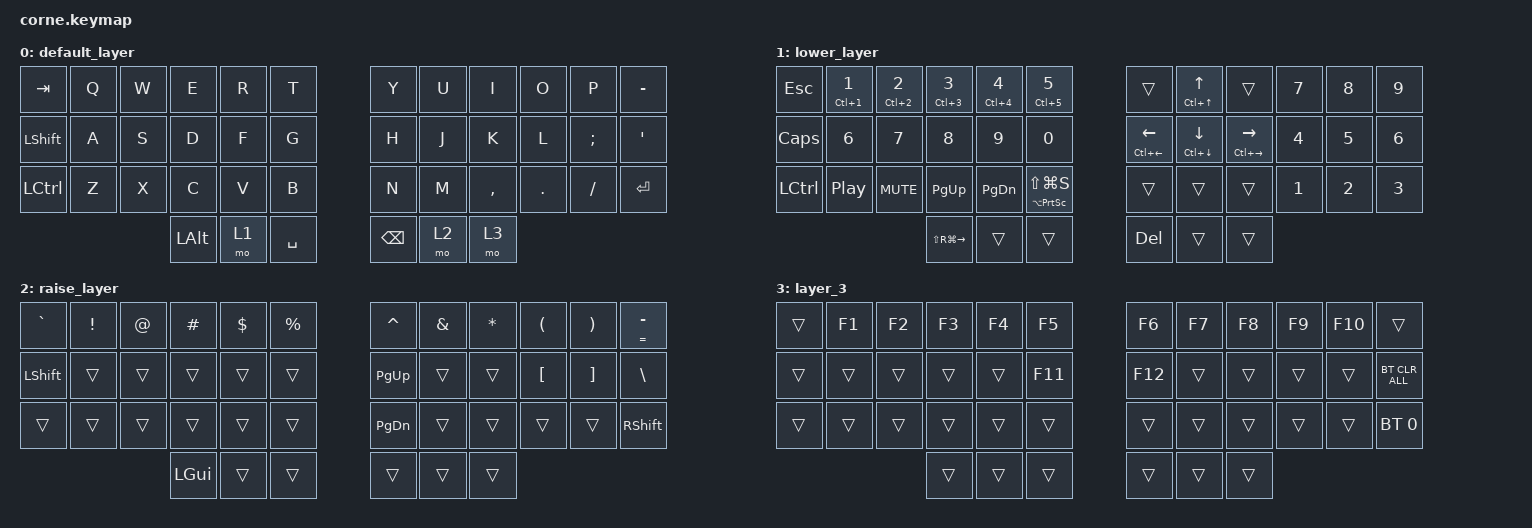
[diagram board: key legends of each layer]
/*
 * Copyright (c) 2020 The ZMK Contributors
 *
 * SPDX-License-Identifier: MIT
 */

#include <behaviors.dtsi>
#include <dt-bindings/zmk/bt.h>
#include <dt-bindings/zmk/keys.h>

/ {
    keymap {
        compatible = "zmk,keymap";

        default_layer {
            // -----------------------------------------------------------------------------------------
            // |  TAB |  Q  |  W  |  E  |  R  |  T  |   |  Y  |  U   |  I  |  O  |  P  | BKSP |
            // | CTRL |  A  |  S  |  D  |  F  |  G  |   |  H  |  J   |  K  |  L  |  ;  |  '   |
            // | SHFT |  Z  |  X  |  C  |  V  |  B  |   |  N  |  M   |  ,  |  .  |  /  | ESC  |
            //                    | GUI | LWR | SPC |   | ENT | RSE  | ALT |

            bindings = <
&kp TAB           &kp Q  &kp W  &kp E     &kp R  &kp T        &kp Y          &kp U  &kp I      &kp O    &kp P     &kp MINUS
&kp LEFT_SHIFT    &kp A  &kp S  &kp D     &kp F  &kp G        &kp H          &kp J  &kp K      &kp L    &kp SEMI  &kp SQT
&kp LEFT_CONTROL  &kp Z  &kp X  &kp C     &kp V  &kp B        &kp N          &kp M  &kp COMMA  &kp DOT  &kp FSLH  &kp ENTER
                                &kp LALT  &mo 1  &kp SPACE    &kp BACKSPACE  &mo 2  &mo 3
            >;
        };

        lower_layer {
            // -----------------------------------------------------------------------------------------
            // |  TAB |  1  |  2  |  3  |  4  |  5  |   |  6  |  7  |  8  |  9  |  0  | BKSP |
            // | BTCLR| BT1 | BT2 | BT3 | BT4 | BT5 |   | LFT | DWN |  UP | RGT |     |      |
            // | SHFT |     |     |     |     |     |   |     |     |     |     |     |      |
            //                    | GUI |     | SPC |   | ENT |     | ALT |

            bindings = <
&kp ESC           &mt LC(N1) N1     &mt LC(N2) N2  &mt LC(N3) NUMBER_3  &mt LC(N4) NUMBER_4  &mt LC(N5) NUMBER_5              &trans             &mt LC(UP) UP      &trans               &kp N7        &kp NUMBER_8  &kp NUMBER_9
&kp CAPSLOCK      &kp N6            &kp N7         &kp NUMBER_8         &kp NUMBER_9         &kp NUMBER_0                     &mt LC(LEFT) LEFT  &mt LC(DOWN) DOWN  &mt LC(RIGHT) RIGHT  &kp NUMBER_4  &kp NUMBER_5  &kp NUMBER_6
&kp LEFT_CONTROL  &kp C_PLAY_PAUSE  &kp C_MUTE     &kp PG_UP            &kp PG_DN            &mt LA(PRINTSCREEN) LS(LG(S))    &trans             &trans             &trans               &kp NUMBER_1  &kp NUMBER_2  &kp NUMBER_3
                                                   &kp LS(RG(RIGHT))    &trans               &trans                           &kp DELETE         &trans             &trans
            >;
        };

        raise_layer {
            // -----------------------------------------------------------------------------------------
            // |  TAB |  !  |  @  |  #  |  $  |  %  |   |  ^  |  &  |  *  |  (  |  )  | BKSP |
            // | CTRL |     |     |     |     |     |   |  -  |  =  |  [  |  ]  |  \  |  `   |
            // | SHFT |     |     |     |     |     |   |  _  |  +  |  {  |  }  | "|" |  ~   |
            //                    | GUI |     | SPC |   | ENT |     | ALT |

            bindings = <
&kp GRAVE       &kp EXCL  &kp AT  &kp HASH  &kp DLLR  &kp PRCNT    &kp CARET  &kp AMPS  &kp ASTERISK  &kp LEFT_PARENTHESIS  &kp RIGHT_PARENTHESIS  &mt EQUAL MINUS
&kp LEFT_SHIFT  &trans    &trans  &trans    &trans    &trans       &kp PG_UP  &trans    &trans        &kp LEFT_BRACKET      &kp RIGHT_BRACKET      &kp BACKSLASH
&trans          &trans    &trans  &trans    &trans    &trans       &kp PG_DN  &trans    &trans        &trans                &trans                 &kp RIGHT_SHIFT
                                  &kp LGUI  &trans    &trans       &trans     &trans    &trans
            >;
        };

        layer_3 {
            bindings = <
&trans  &kp F1  &kp F2  &kp F3  &kp F4  &kp F5     &kp F6   &kp F7  &kp F8  &kp F9  &kp F10  &trans
&trans  &trans  &trans  &trans  &trans  &kp F11    &kp F12  &trans  &trans  &trans  &trans   &bt BT_CLR_ALL
&trans  &trans  &trans  &trans  &trans  &trans     &trans   &trans  &trans  &trans  &trans   &bt BT_SEL 0
                        &trans  &trans  &trans     &trans   &trans  &trans
            >;
        };
    };
};
